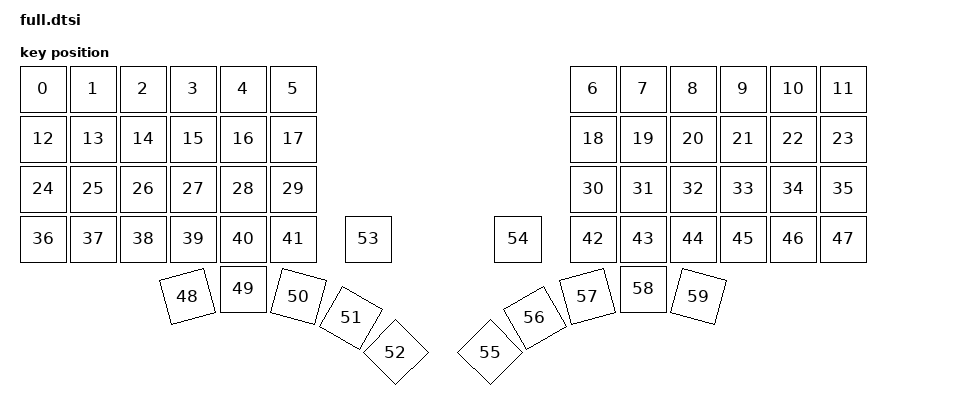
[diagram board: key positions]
#include <physical_layouts.dtsi>

#include "position_map.dtsi"

/ {
    istanbul_full_layout: istanbul_full_layout {
        compatible = "zmk,physical-layout";
        display-name = "Istanbul";

        keys  //                     w   h    x    y     rot    rx    ry
            = <&key_physical_attrs 100 100    0    0       0     0     0>
            , <&key_physical_attrs 100 100  100    0       0     0     0>
            , <&key_physical_attrs 100 100  200    0       0     0     0>
            , <&key_physical_attrs 100 100  300    0       0     0     0>
            , <&key_physical_attrs 100 100  400    0       0     0     0>
            , <&key_physical_attrs 100 100  500    0       0     0     0>
            , <&key_physical_attrs 100 100 1100    0       0     0     0>
            , <&key_physical_attrs 100 100 1200    0       0     0     0>
            , <&key_physical_attrs 100 100 1300    0       0     0     0>
            , <&key_physical_attrs 100 100 1400    0       0     0     0>
            , <&key_physical_attrs 100 100 1500    0       0     0     0>
            , <&key_physical_attrs 100 100 1600    0       0     0     0>
            , <&key_physical_attrs 100 100    0  100       0     0     0>
            , <&key_physical_attrs 100 100  100  100       0     0     0>
            , <&key_physical_attrs 100 100  200  100       0     0     0>
            , <&key_physical_attrs 100 100  300  100       0     0     0>
            , <&key_physical_attrs 100 100  400  100       0     0     0>
            , <&key_physical_attrs 100 100  500  100       0     0     0>
            , <&key_physical_attrs 100 100 1100  100       0     0     0>
            , <&key_physical_attrs 100 100 1200  100       0     0     0>
            , <&key_physical_attrs 100 100 1300  100       0     0     0>
            , <&key_physical_attrs 100 100 1400  100       0     0     0>
            , <&key_physical_attrs 100 100 1500  100       0     0     0>
            , <&key_physical_attrs 100 100 1600  100       0     0     0>
            , <&key_physical_attrs 100 100    0  200       0     0     0>
            , <&key_physical_attrs 100 100  100  200       0     0     0>
            , <&key_physical_attrs 100 100  200  200       0     0     0>
            , <&key_physical_attrs 100 100  300  200       0     0     0>
            , <&key_physical_attrs 100 100  400  200       0     0     0>
            , <&key_physical_attrs 100 100  500  200       0     0     0>
            , <&key_physical_attrs 100 100 1100  200       0     0     0>
            , <&key_physical_attrs 100 100 1200  200       0     0     0>
            , <&key_physical_attrs 100 100 1300  200       0     0     0>
            , <&key_physical_attrs 100 100 1400  200       0     0     0>
            , <&key_physical_attrs 100 100 1500  200       0     0     0>
            , <&key_physical_attrs 100 100 1600  200       0     0     0>
            , <&key_physical_attrs 100 100    0  300       0     0     0>
            , <&key_physical_attrs 100 100  100  300       0     0     0>
            , <&key_physical_attrs 100 100  200  300       0     0     0>
            , <&key_physical_attrs 100 100  300  300       0     0     0>
            , <&key_physical_attrs 100 100  400  300       0     0     0>
            , <&key_physical_attrs 100 100  500  300       0     0     0>
            , <&key_physical_attrs 100 100 1100  300       0     0     0>
            , <&key_physical_attrs 100 100 1200  300       0     0     0>
            , <&key_physical_attrs 100 100 1300  300       0     0     0>
            , <&key_physical_attrs 100 100 1400  300       0     0     0>
            , <&key_physical_attrs 100 100 1500  300       0     0     0>
            , <&key_physical_attrs 100 100 1600  300       0     0     0>
            , <&key_physical_attrs 100 100  300  400 (-1500)   400   500>
            , <&key_physical_attrs 100 100  400  400       0     0     0>
            , <&key_physical_attrs 100 100  500  400    1500   500   500>
            , <&key_physical_attrs 100 100  600  400    3000   550   510>
            , <&key_physical_attrs 100 100  700  400    4500   600   520>
            , <&key_physical_attrs 100 100  650  300       0     0     0>
            , <&key_physical_attrs 100 100  950  300       0     0     0>
            , <&key_physical_attrs 100 100  900  400 (-4500)  1100   520>
            , <&key_physical_attrs 100 100 1000  400 (-3000)  1150   510>
            , <&key_physical_attrs 100 100 1100  400 (-1500)  1200   500>
            , <&key_physical_attrs 100 100 1200  400       0     0     0>
            , <&key_physical_attrs 100 100 1300  400    1500  1300   500>
            ;
    };
};

&layouts_istanbul_position_map {
    istanbul_full_posmap: full {
        physical-layout = <&istanbul_full_layout>;
        positions
            = < 0  1  2  3  4  5                  6  7  8  9  10 11>
            , < 10 11 12 13 14 15                 16 17 18 19 20 21>
            , < 20 21 22 23 24 25                 26 27 28 29 30 31>
            , < 31 32 33 34 35 36                 37 38 39 40 41 42>
            , <          41 42 43 44 45 46  47 48 49 50 51 52>
            ;
    };
};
